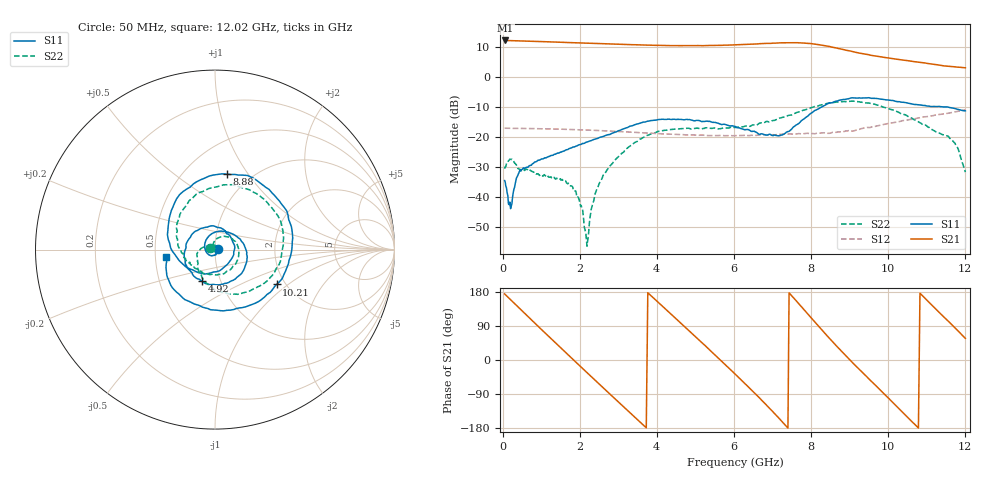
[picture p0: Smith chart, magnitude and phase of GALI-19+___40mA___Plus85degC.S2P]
! Mini-Circuits
! S2P DATA File Format
! Type: MMIC Amplifier
! Model: GALI-19  Reference Data:RDF-1299
! Note: All S Parameters are in dB deg format
! TEST CONDITIONS: INPUT POWER = -20dBm, Icc = 40mA, Vd = 3.48V @Temperature = +85degC
! 401 Frequency points
# MHz S DB R 50
!  FREQ  dB(S11)  PHS(S11)  dB(S21)  PHS(S21)  dB(S12)  PHS(S12)  dB(S22)  PHS(S22)
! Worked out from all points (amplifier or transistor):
!   401 points, 50 MHz to 12.02 GHz, reference 50 ohm
!   highest |S21| = 12.3 dB at 65 MHz (marker M1)
!   |S21| within 3 dB of that: start of sweep to 8.839 GHz
!   unconditionally stable (mu >= 1): start of sweep to end of sweep
!   at 1.2 GHz: K = 1.20, MAG = 11.8 dB, |S12| = -17.3 dB
!   at 4.99 GHz: K = 1.51, MAG = 10.7 dB, |S12| = -19.3 dB
!   at 12.02 GHz: K = 1.34, MAG = 3.5 dB, |S12| = -10.9 dB
!   S11 on the Smith chart (normalised r, x): 50 MHz: 1.04, +0.00; 4.92 GHz: 0.82, -0.30; 8.88 GHz: 0.78, +0.80; 10.21 GHz: 1.80, -0.83; 12.02 GHz: 0.57, -0.05
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50  -34.53 2.1  12.25 174.3  -17.08 -4.7  -30.54 163.1
65  -34.99 1.6  12.26 172.8  -17.05 -5.8  -29.95 166.1
570  -30.40 -90.9  12.06 123.1  -17.14 -46.2  -31.16 131.1
975  -27.59 -129.0  11.89 83.6  -17.21 -78.9  -32.52 96.3
1550  -24.85 170.4  11.64 28.1  -17.39 -125.6  -34.18 35.5
2060  -22.22 124.7  11.42 -20.9  -17.60 -167.3  -43.93 0.5
2930  -18.35 53.2  11.03 -103.5  -18.09 120.6  -27.49 98.0
3520  -15.57 5.7  10.79 -159.2  -18.49 70.7  -21.12 56.6
4050  -14.15 -35.4  10.64 151.3  -18.87 25.6  -18.10 17.5
4920  -14.38 -112.4  10.49 69.6  -19.28 -50.8  -17.27 -43.8
5480  -15.10 -163.1  10.60 16.8  -19.50 -101.8  -16.98 -84.5
6040  -16.47 137.0  10.79 -37.2  -19.52 -153.2  -16.80 -121.6
6710  -18.91 48.8  11.20 -104.3  -19.29 143.5  -15.25 -160.6
7300  -19.06 -63.1  11.48 -167.3  -19.01 88.1  -13.36 166.4
7620  -16.00 -126.0  11.50 156.9  -18.98 59.0  -11.89 146.8
8040  -11.82 171.4  11.15 108.2  -18.81 20.7  -10.11 114.1
8880  -7.41 80.8  9.12 14.7  -18.12 -48.8  -8.14 41.6
9470  -6.91 31.9  7.58 -45.3  -16.79 -98.1  -8.62 -6.5
10030  -7.66 -13.2  6.39 -101.5  -15.42 -144.8  -10.53 -52.0
10210  -8.07 -29.4  6.04 -119.8  -15.10 -160.4  -11.33 -65.8
10910  -9.42 -88.1  4.85 169.2  -13.34 139.1  -15.87 -118.3
12020  -11.24 -171.5  3.11 56.9  -10.89 43.2  -31.70 162.1
